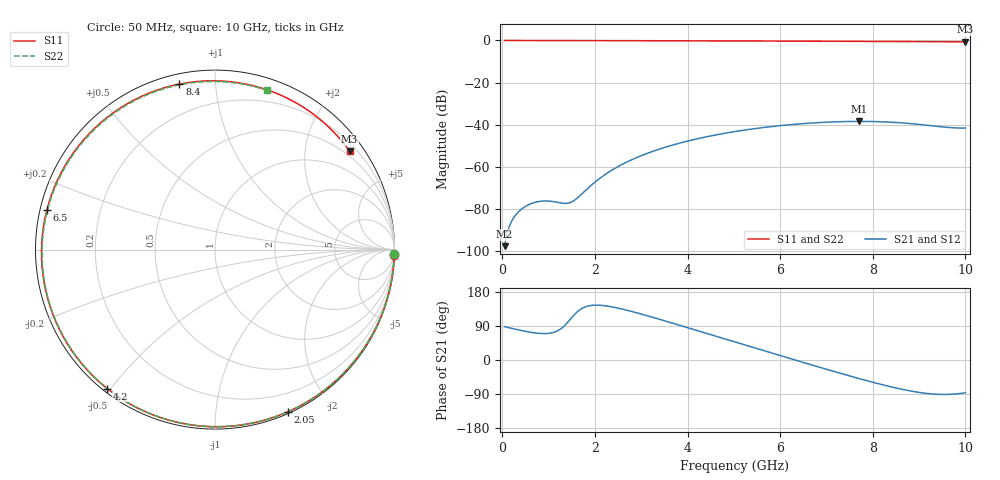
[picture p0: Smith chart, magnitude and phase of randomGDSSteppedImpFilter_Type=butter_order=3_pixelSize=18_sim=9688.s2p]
! freq	dB(S11)	phase(S11)	dB(S12)	phase(S12)
!  dB(S21)	phase(S21)	dB(S22)	phase(S22)
!S-par simulation data
#  GHz  S  DB  R 50
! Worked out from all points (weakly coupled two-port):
!   200 points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, 50 MHz to 10 GHz, reference 50 ohm
!   highest |S21| = -38.47 dB at 7.7 GHz (marker M1); lowest = -97.8 dB at 50 MHz (marker M2)
!   lowest |S11| = -0.6 dB at 10 GHz (marker M3), VSWR 27.13, Z = 18.9 + j151 ohm
!   |S11| at or under -10 dB: nowhere
!   |S22| runs from -0.6 to 0.0 dB; largest |S21 - S12| = 0
!   S11 on the Smith chart (normalised r, x): 50 MHz: 1, -68; 2.05 GHz: 0.02, -1.55; 4.2 GHz: 0.01, -0.49; 6.5 GHz: 0.02, +0.12; 8.4 GHz: 0.05, +0.81; 10 GHz: 0.38, +3.02
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0.05  -0.00 -1.7  -97.76 88.0  -97.76 88.0  -0.00 -1.5
0.4  -0.02 -13.2  -80.44 78.1  -80.44 78.1  -0.01 -12.2
0.65  -0.02 -21.4  -77.33 72.4  -77.33 72.4  -0.02 -19.7
0.85  -0.03 -27.9  -76.36 69.8  -76.36 69.8  -0.03 -25.7
1.45  -0.06 -47.1  -77.19 104.8  -77.19 104.8  -0.05 -43.4
1.75  -0.07 -56.4  -72.26 138.0  -72.26 138.0  -0.07 -52.1
2.05  -0.08 -65.7  -66.45 144.7  -66.45 144.7  -0.08 -60.7
2.65  -0.11 -83.7  -58.20 132.6  -58.20 132.6  -0.10 -77.4
3.4  -0.14 -105.4  -51.58 107.3  -51.58 107.3  -0.13 -97.7
4.2  -0.17 -127.8  -46.79 78.0  -46.79 78.0  -0.16 -118.6
5.05  -0.22 -151.4  -43.21 46.5  -43.21 46.5  -0.21 -140.4
5.8  -0.28 -172.6  -40.96 18.9  -40.96 18.9  -0.26 -159.7
6.5  -0.33 166.7  -39.51 -6.6  -39.51 -6.6  -0.32 -178.1
6.7  -0.35 160.6  -39.21 -13.8  -39.21 -13.8  -0.33 176.5
7.2  -0.40 144.6  -38.67 -31.6  -38.67 -31.6  -0.38 162.6
7.7  -0.44 127.7  -38.47 -48.8  -38.47 -48.8  -0.42 148.1
8.35  -0.50 104.1  -38.80 -69.5  -38.80 -69.5  -0.48 128.1
8.4  -0.51 102.2  -38.86 -71.0  -38.86 -71.0  -0.49 126.5
8.8  -0.54 86.5  -39.48 -81.4  -39.48 -81.4  -0.52 113.5
9.2  -0.57 70.2  -40.36 -88.7  -40.36 -88.7  -0.55 100.0
9.6  -0.61 53.4  -41.28 -90.8  -41.28 -90.8  -0.57 86.0
10  -0.64 36.2  -41.59 -86.7  -41.59 -86.7  -0.60 71.8
